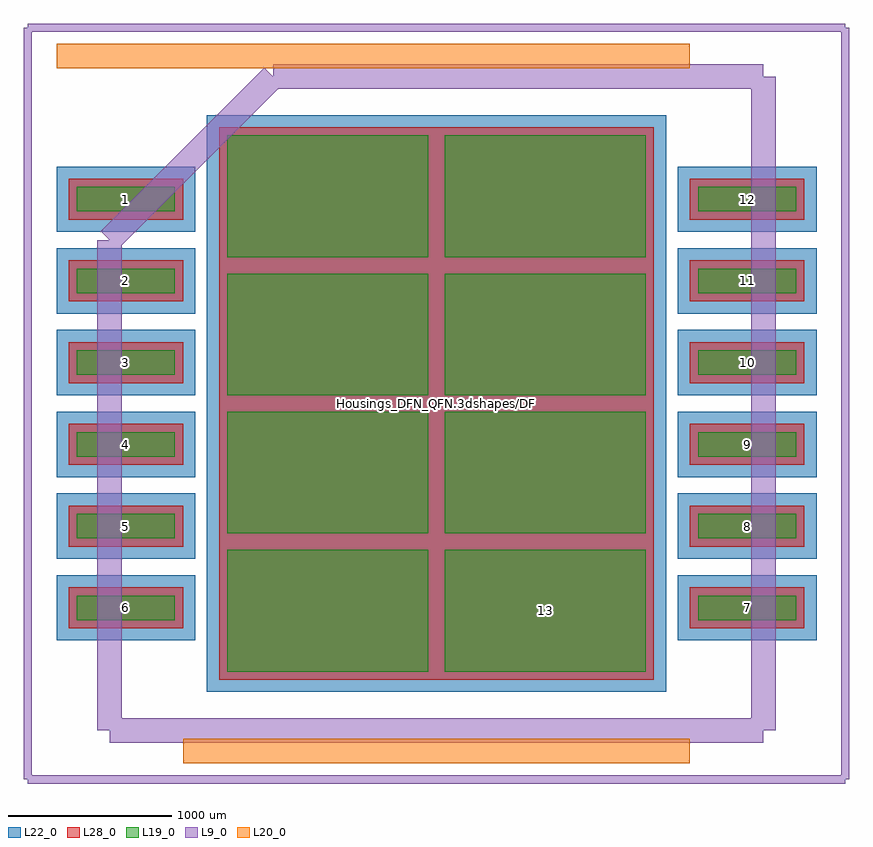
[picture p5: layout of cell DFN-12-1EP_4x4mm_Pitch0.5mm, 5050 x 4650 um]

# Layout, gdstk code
import gdstk
lib = gdstk.Library(unit=1e-6, precision=1e-09)
def R(c, l, rs):  # rectangles x0, y0, x1, y1
    for r in rs: c.add(gdstk.rectangle(r[:2], r[2:], *l))
def A(c, l, x, y, w, h, nx, ny, dx, dy):  # array of equal rectangles
    R(c, l, [(x+i*dx, y+j*dy, x+i*dx+w, y+j*dy+h) for i in range(nx) for j in range(ny)])
L9_0 = (9, 0)
L19_0 = (19, 0)
L20_0 = (20, 0)
L22_0 = (22, 0)
L28_0 = (28, 0)

dfn_12_1ep_4x4mm_pitch0_ = lib.new_cell('DFN-12-1EP_4x4mm_Pitch0.5mm')
A(dfn_12_1ep_4x4mm_pitch0_, L19_0, -1280, -1640, 1230, 745, 1, 4, 0, 845)
A(dfn_12_1ep_4x4mm_pitch0_, L19_0, 50, -1640, 1230, 745, 1, 4, 0, 845)
A(dfn_12_1ep_4x4mm_pitch0_, L19_0, -2200, -1325, 600, 150, 1, 6, 0, 500)
A(dfn_12_1ep_4x4mm_pitch0_, L19_0, 1600, -1325, 600, 150, 1, 6, 0, 500)
A(dfn_12_1ep_4x4mm_pitch0_, L22_0, -1405, -1765, 1480, 995, 1, 4, 0, 845)
A(dfn_12_1ep_4x4mm_pitch0_, L22_0, -75, -1765, 1480, 995, 1, 4, 0, 845)
A(dfn_12_1ep_4x4mm_pitch0_, L22_0, -2325, -1450, 850, 400, 1, 6, 0, 500)
A(dfn_12_1ep_4x4mm_pitch0_, L22_0, 1475, -1450, 850, 400, 1, 6, 0, 500)
A(dfn_12_1ep_4x4mm_pitch0_, L28_0, -1330, -1690, 1330, 845, 1, 4, 0, 845)
A(dfn_12_1ep_4x4mm_pitch0_, L28_0, 0, -1690, 1330, 845, 1, 4, 0, 845)
A(dfn_12_1ep_4x4mm_pitch0_, L28_0, -2250, -1375, 700, 250, 1, 6, 0, 500)
A(dfn_12_1ep_4x4mm_pitch0_, L28_0, 1550, -1375, 700, 250, 1, 6, 0, 500)
dfn_12_1ep_4x4mm_pitch0_.add(gdstk.FlexPath([(-2325,2125),(1550,2125)], 149.998, ends="flush", simple_path=True, layer=20, datatype=0))  # L20_0
dfn_12_1ep_4x4mm_pitch0_.add(gdstk.FlexPath([(-1550,-2125),(1550,-2125)], 149.998, ends="flush", simple_path=True, layer=20, datatype=0))  # L20_0
dfn_12_1ep_4x4mm_pitch0_.add(gdstk.FlexPath([(-2500,-2300),(2500,-2300)], 50, ends="flush", simple_path=True, layer=9, datatype=0))  # L9_0
dfn_12_1ep_4x4mm_pitch0_.add(gdstk.FlexPath([(-2500,2300),(2500,2300)], 50, ends="flush", simple_path=True, layer=9, datatype=0))  # L9_0
dfn_12_1ep_4x4mm_pitch0_.add(gdstk.FlexPath([(2500,2300),(2500,-2300)], 50, ends="flush", simple_path=True, layer=9, datatype=0))  # L9_0
dfn_12_1ep_4x4mm_pitch0_.add(gdstk.FlexPath([(-2500,2300),(-2500,-2300)], 50, ends="flush", simple_path=True, layer=9, datatype=0))  # L9_0
dfn_12_1ep_4x4mm_pitch0_.add(gdstk.FlexPath([(-2000,1000),(-1000,2000)], 149.998, ends="flush", simple_path=True, layer=9, datatype=0))  # L9_0
dfn_12_1ep_4x4mm_pitch0_.add(gdstk.FlexPath([(-2000,-2000),(-2000,1000)], 149.998, ends="flush", simple_path=True, layer=9, datatype=0))  # L9_0
dfn_12_1ep_4x4mm_pitch0_.add(gdstk.FlexPath([(2000,-2000),(-2000,-2000)], 149.998, ends="flush", simple_path=True, layer=9, datatype=0))  # L9_0
dfn_12_1ep_4x4mm_pitch0_.add(gdstk.FlexPath([(2000,2000),(2000,-2000)], 149.998, ends="flush", simple_path=True, layer=9, datatype=0))  # L9_0
dfn_12_1ep_4x4mm_pitch0_.add(gdstk.FlexPath([(-1000,2000),(2000,2000)], 149.998, ends="flush", simple_path=True, layer=9, datatype=0))  # L9_0
dfn_12_1ep_4x4mm_pitch0_.add(gdstk.Label('Housings_DFN_QFN.3dshapes/DFN-12-1EP_4x4mm_Pitch0.5mm.wrl', (0,0), layer=12, texttype=0))
dfn_12_1ep_4x4mm_pitch0_.add(gdstk.Label('13', (665,-1267.5), layer=28, texttype=0))
dfn_12_1ep_4x4mm_pitch0_.add(gdstk.Label('12', (1900,1250), layer=28, texttype=0))
dfn_12_1ep_4x4mm_pitch0_.add(gdstk.Label('11', (1900,750), layer=28, texttype=0))
dfn_12_1ep_4x4mm_pitch0_.add(gdstk.Label('10', (1900,250), layer=28, texttype=0))
dfn_12_1ep_4x4mm_pitch0_.add(gdstk.Label('9', (1900,-250), layer=28, texttype=0))
dfn_12_1ep_4x4mm_pitch0_.add(gdstk.Label('8', (1900,-750), layer=28, texttype=0))
dfn_12_1ep_4x4mm_pitch0_.add(gdstk.Label('7', (1900,-1250), layer=28, texttype=0))
dfn_12_1ep_4x4mm_pitch0_.add(gdstk.Label('6', (-1900,-1250), layer=28, texttype=0))
dfn_12_1ep_4x4mm_pitch0_.add(gdstk.Label('5', (-1900,-750), layer=28, texttype=0))
dfn_12_1ep_4x4mm_pitch0_.add(gdstk.Label('4', (-1900,-250), layer=28, texttype=0))
dfn_12_1ep_4x4mm_pitch0_.add(gdstk.Label('3', (-1900,250), layer=28, texttype=0))
dfn_12_1ep_4x4mm_pitch0_.add(gdstk.Label('2', (-1900,750), layer=28, texttype=0))
dfn_12_1ep_4x4mm_pitch0_.add(gdstk.Label('1', (-1900,1250), layer=28, texttype=0))
dfn_12_1ep_4x4mm_pitch0_.add(gdstk.Label('type', (0,-3050), layer=9, texttype=0))
dfn_12_1ep_4x4mm_pitch0_.add(gdstk.Label('devicename', (0,3050), layer=9, texttype=0))

lib.write_gds('DFN-12-1EP_4x4mm_Pitch0.5mm.gds')
